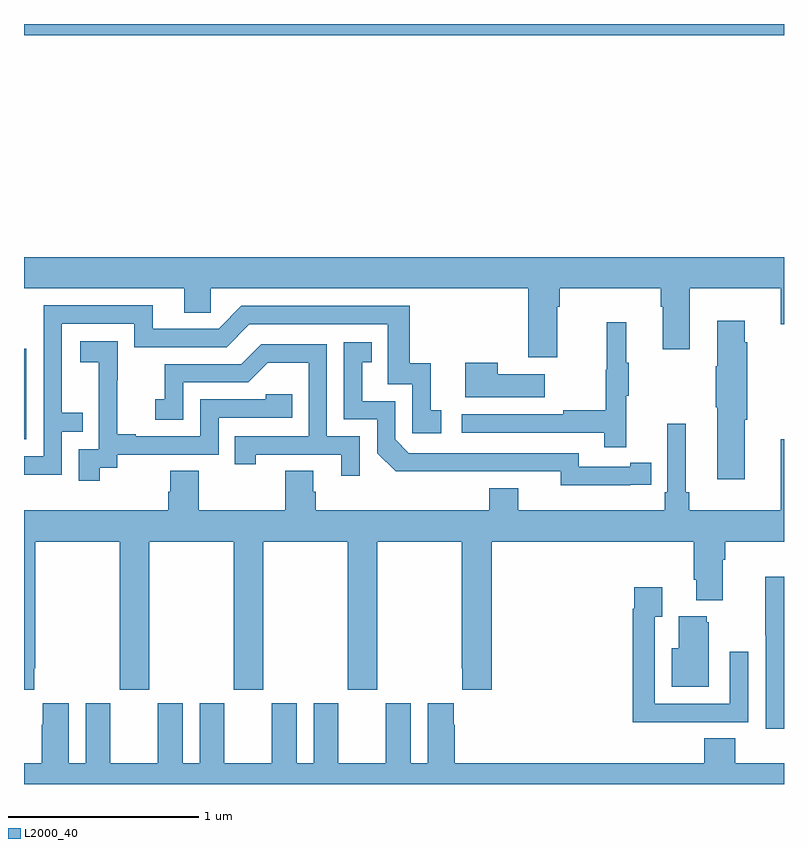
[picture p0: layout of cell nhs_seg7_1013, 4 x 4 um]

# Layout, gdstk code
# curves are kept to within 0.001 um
import gdstk
lib = gdstk.Library(unit=1e-6, precision=1e-09)
def R(c, l, rs):  # rectangles x0, y0, x1, y1
    for r in rs: c.add(gdstk.rectangle(r[:2], r[2:], *l))
def P(c, l, *ps):  # polygons
    for p in ps: c.add(gdstk.Polygon(p, *l))
L2000_40 = (2000, 40)

nhs_seg7_1013 = lib.new_cell('nhs_seg7_1013')
R(nhs_seg7_1013, L2000_40, [(185,1007.814,185.013,1008.291), (185,1009.94,189,1010)])
P(nhs_seg7_1013, L2000_40, [(187.807,1008.512),(187.82,1008.512),(187.82,1008.608),(188.351,1008.608),(188.351,1008.512),(188.363,1008.512),(188.363,1008.288),(188.503,1008.288),(188.503,1008.608),(188.984,1008.608),(188.984,1008.42),(189,1008.42),(189,1008.772),(185,1008.772),(185,1008.608),(185.843,1008.608),(185.843,1008.481),(185.982,1008.481),(185.982,1008.608),(187.655,1008.608),(187.655,1008.246),(187.807,1008.246)],
  [(185.199,1007.853),(185.309,1007.853),(185.309,1007.954),(185.199,1007.954),(185.199,1008.423),(185.58,1008.423),(185.58,1008.3),(186.066,1008.3),(186.186,1008.42),(186.915,1008.42),(186.915,1008.105),(187.044,1008.105),(187.044,1007.847),(187.195,1007.847),(187.195,1007.967),(187.142,1007.967),(187.142,1008.214),(187.031,1008.214),(187.031,1008.516),(186.144,1008.516),(186.024,1008.396),(185.677,1008.396),(185.677,1008.519),(185.103,1008.519),(185.103,1007.724),(185,1007.724),(185,1007.628),(185.199,1007.628)],
  [(188.794,1007.916),(188.807,1007.916),(188.807,1008.326),(188.794,1008.326),(188.794,1008.439),(188.648,1008.439),(188.648,1008.2),(188.641,1008.2),(188.641,1007.983),(188.648,1007.983),(188.648,1007.604),(188.794,1007.604)],
  [(188.171,1008.043),(188.182,1008.043),(188.182,1008.217),(188.171,1008.217),(188.171,1008.43),(188.068,1008.43),(188.068,1008.18),(188.061,1008.18),(188.061,1007.966),(187.837,1007.966),(187.837,1007.946),(187.305,1007.946),(187.305,1007.85),(188.053,1007.85),(188.053,1007.772),(188.171,1007.772)],
  [(185.398,1007.665),(185.49,1007.665),(185.49,1007.733),(186.024,1007.733),(186.024,1007.928),(186.413,1007.928),(186.413,1008.051),(186.273,1008.051),(186.273,1008.024),(185.928,1008.024),(185.928,1007.829),(185.587,1007.829),(185.587,1007.842),(185.492,1007.842),(185.492,1008.125),(185.493,1008.125),(185.493,1008.331),(185.295,1008.331),(185.295,1008.221),(185.393,1008.221),(185.393,1007.993),(185.394,1007.993),(185.394,1007.763),(185.289,1007.763),(185.289,1007.595),(185.398,1007.595)],
  [(188.192,1007.574),(188.3,1007.574),(188.3,1007.69),(188.192,1007.69),(188.192,1007.67),(187.92,1007.67),(187.92,1007.742),(187.026,1007.742),(186.954,1007.814),(186.954,1008.015),(186.781,1008.015),(186.781,1008.219),(186.83,1008.219),(186.83,1008.325),(186.684,1008.325),(186.684,1007.919),(186.858,1007.919),(186.858,1007.742),(186.956,1007.645),(187.824,1007.646),(187.824,1007.573)],
  [(186.768,1007.829),(186.594,1007.829),(186.594,1008.315),(186.248,1008.315),(186.143,1008.21),(185.74,1008.21),(185.74,1008.025),(185.691,1008.025),(185.691,1007.916),(185.838,1007.916),(185.838,1008.114),(186.18,1008.114),(186.284,1008.218),(186.498,1008.218),(186.498,1007.829),(186.109,1007.829),(186.109,1007.682),(186.22,1007.682),(186.22,1007.733),(186.671,1007.733),(186.671,1007.622),(186.768,1007.622)],
  [(187.741,1008.157),(187.493,1008.157),(187.493,1008.217),(187.322,1008.217),(187.322,1008.035),(187.741,1008.035)],
  [(185.053,1006.609),(185.058,1006.609),(185.058,1007.276),(185.503,1007.276),(185.503,1006.497),(185.658,1006.497),(185.658,1007.276),(186.103,1007.276),(186.103,1006.497),(186.258,1006.497),(186.258,1007.276),(186.703,1007.276),(186.703,1006.497),(186.858,1006.497),(186.858,1007.276),(187.303,1007.276),(187.303,1006.609),(187.307,1006.609),(187.307,1006.497),(187.463,1006.497),(187.463,1007.276),(188.525,1007.276),(188.525,1007.074),(188.537,1007.074),(188.537,1006.967),(188.677,1006.967),(188.677,1007.18),(188.69,1007.18),(188.69,1007.276),(189,1007.276),(189,1007.815),(188.984,1007.815),(188.984,1007.44),(188.501,1007.44),(188.501,1007.536),(188.482,1007.536),(188.482,1007.896),(188.385,1007.896),(188.385,1007.536),(188.372,1007.536),(188.372,1007.44),(187.6,1007.44),(187.6,1007.557),(187.448,1007.557),(187.448,1007.44),(186.536,1007.44),(186.536,1007.538),(186.523,1007.538),(186.523,1007.648),(186.376,1007.648),(186.376,1007.44),(185.919,1007.44),(185.919,1007.648),(185.771,1007.648),(185.771,1007.538),(185.759,1007.538),(185.759,1007.44),(185,1007.44),(185,1006.497),(185.053,1006.497)],
  [(189,1007.09),(188.902,1007.09),(188.902,1006.783),(188.904,1006.783),(188.904,1006.29),(189,1006.29)],
  [(188.495,1006.326),(188.811,1006.326),(188.811,1006.696),(188.715,1006.696),(188.715,1006.422),(188.319,1006.422),(188.319,1006.879),(188.359,1006.879),(188.359,1007.035),(188.211,1007.035),(188.211,1006.922),(188.203,1006.922),(188.203,1006.325),(188.495,1006.325)],
  [(188.605,1006.851),(188.594,1006.851),(188.594,1006.882),(188.447,1006.882),(188.447,1006.714),(188.408,1006.714),(188.408,1006.511),(188.605,1006.511)],
  [(189,1006.108),(188.744,1006.108),(188.744,1006.241),(188.579,1006.241),(188.579,1006.108),(187.268,1006.108),(187.268,1006.313),(187.261,1006.313),(187.261,1006.426),(187.124,1006.426),(187.124,1006.108),(187.036,1006.108),(187.036,1006.426),(186.905,1006.426),(186.905,1006.108),(186.655,1006.108),(186.655,1006.426),(186.524,1006.426),(186.524,1006.108),(186.436,1006.108),(186.436,1006.426),(186.305,1006.426),(186.305,1006.108),(186.055,1006.108),(186.055,1006.426),(185.924,1006.426),(185.924,1006.108),(185.836,1006.108),(185.836,1006.426),(185.705,1006.426),(185.705,1006.108),(185.455,1006.108),(185.455,1006.426),(185.324,1006.426),(185.324,1006.108),(185.236,1006.108),(185.236,1006.426),(185.099,1006.426),(185.099,1006.313),(185.093,1006.313),(185.093,1006.108),(185,1006.108),(185,1006),(189,1006)])

lib.write_gds('nhs_seg7_1013.gds')
